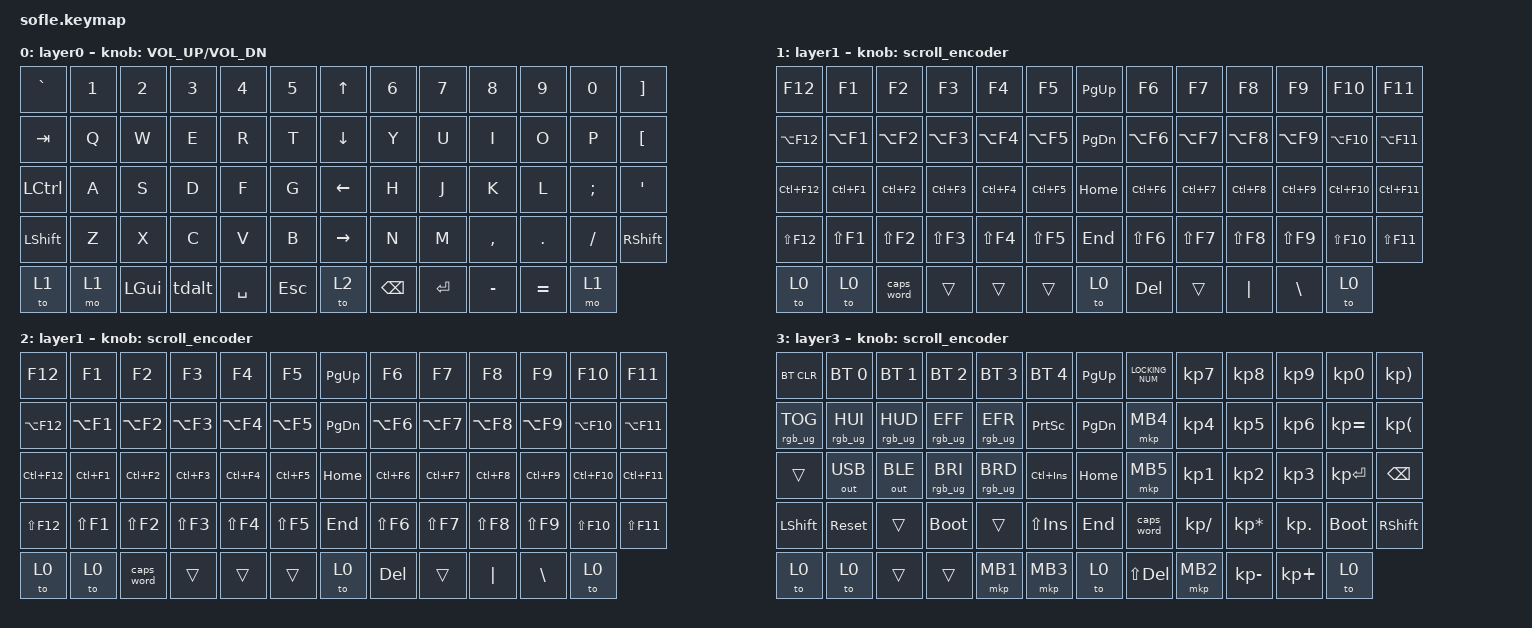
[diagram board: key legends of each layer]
#include <behaviors/mouse_keys.dtsi>
#include <dt-bindings/zmk/mouse.h>
#include <behaviors.dtsi>
#include <dt-bindings/zmk/bt.h>
#include <dt-bindings/zmk/keys.h>
#include <dt-bindings/zmk/outputs.h>

#include <dt-bindings/zmk/rgb.h>

#define ZMK_MOUSE_DEFAULT_MOVE_VAL 1200  // 600
#define ZMK_MOUSE_DEFAULT_SCRL_VAL 20    // 10
#define U_MS_U &mmv MOVE_UP
#define U_MS_D &mmv MOVE_DOWN
#define U_MS_L &mmv MOVE_LEFT
#define U_MS_R &mmv MOVE_RIGHT
#define ZMK_MOUSE_DEFAULT_MOVE_VAL 1200  //  600
#define ZMK_MOUSE_DEFAULT_SCRL_VAL 20    // 10

/ {
    behaviors {
        mmv {
            acceleration-exponent = <1>;      // 1
            time-to-max-speed-ms = <900>;    // 40
            delay-ms = <0>;                   // 0
        };

        msc {
            acceleration-exponent = <1>;      // 0
            time-to-max-speed-ms = <400>;      // 500
            delay-ms = <0>;                   //   10
        };
    };

    scroll_encoder: scroll_encoder {
        compatible = "zmk,behavior-sensor-rotate";
        #sensor-binding-cells = <0>;
        bindings = <&msc SCRL_DOWN>, <&msc SCRL_UP>;

        tap-ms = <30>;
    };

    tdalt: tdalt {
        compatible = "zmk,behavior-tap-dance";
        label = "TDALT";
        #binding-cells = <0>;
        bindings = <&kp LALT>, <&kp LALT>, <&kp RIGHT_ALT>;
    };

    keymap {
        compatible = "zmk,keymap";

        BASE {
            bindings = <
&kp GRAVE  &kp N1  &kp N2        &kp N3  &kp N4     &kp N5     &kp UP_ARROW     &kp N6         &kp N7     &kp N8     &kp N9     &kp N0    &kp RIGHT_BRACKET
&kp TAB    &kp Q   &kp W         &kp E   &kp R      &kp T      &kp DOWN_ARROW   &kp Y          &kp U      &kp I      &kp O      &kp P     &kp LEFT_BRACKET
&kp LCTRL  &kp A   &kp S         &kp D   &kp F      &kp G      &kp LEFT_ARROW   &kp H          &kp J      &kp K      &kp L      &kp SEMI  &kp APOS
&kp LSHFT  &kp Z   &kp X         &kp C   &kp V      &kp B      &kp RIGHT_ARROW  &kp N          &kp M      &kp COMMA  &kp DOT    &kp FSLH  &kp RIGHT_SHIFT
&to 1      &mo 1   &kp LEFT_GUI  &tdalt  &kp SPACE  &kp ESC    &to 2            &kp BACKSPACE  &kp ENTER  &kp MINUS  &kp EQUAL  &mo 1
            >;

            sensor-bindings = <&inc_dec_kp C_VOLUME_UP C_VOL_DN>;
            display-name = "layer0";
        };

        FLayer {
            bindings = <
&kp F12      &kp F1      &kp F2      &kp F3      &kp F4      &kp F5        &kp PAGE_UP    &kp F6      &kp F7      &kp F8      &kp F9         &kp F10      &kp F11
&kp LA(F12)  &kp LA(F1)  &kp LA(F2)  &kp LA(F3)  &kp LA(F4)  &kp LA(F5)    &kp PAGE_DOWN  &kp LA(F6)  &kp LA(F7)  &kp LA(F8)  &kp LA(F9)     &kp LA(F10)  &kp LA(F11)
&kp LC(F12)  &kp LC(F1)  &kp LC(F2)  &kp LC(F3)  &kp LC(F4)  &kp LC(F5)    &kp HOME       &kp LC(F6)  &kp LC(F7)  &kp LC(F8)  &kp LC(F9)     &kp LC(F10)  &kp LC(F11)
&kp LS(F12)  &kp LS(F1)  &kp LS(F2)  &kp LS(F3)  &kp LS(F4)  &kp LS(F5)    &kp END        &kp LS(F6)  &kp LS(F7)  &kp LS(F8)  &kp LS(F9)     &kp LS(F10)  &kp LS(F11)
&to 0        &to 0       &caps_word  &trans      &trans      &trans        &to 0          &kp DELETE  &trans      &kp PIPE    &kp BACKSLASH  &to 0
            >;

            display-name = "layer1";
            sensor-bindings = <&scroll_encoder>;
        };

        Symbol {
            display-name = "layer1";
            bindings = <
&kp F12      &kp F1      &kp F2      &kp F3      &kp F4      &kp F5        &kp PAGE_UP    &kp F6      &kp F7      &kp F8      &kp F9         &kp F10      &kp F11
&kp LA(F12)  &kp LA(F1)  &kp LA(F2)  &kp LA(F3)  &kp LA(F4)  &kp LA(F5)    &kp PAGE_DOWN  &kp LA(F6)  &kp LA(F7)  &kp LA(F8)  &kp LA(F9)     &kp LA(F10)  &kp LA(F11)
&kp LC(F12)  &kp LC(F1)  &kp LC(F2)  &kp LC(F3)  &kp LC(F4)  &kp LC(F5)    &kp HOME       &kp LC(F6)  &kp LC(F7)  &kp LC(F8)  &kp LC(F9)     &kp LC(F10)  &kp LC(F11)
&kp LS(F12)  &kp LS(F1)  &kp LS(F2)  &kp LS(F3)  &kp LS(F4)  &kp LS(F5)    &kp END        &kp LS(F6)  &kp LS(F7)  &kp LS(F8)  &kp LS(F9)     &kp LS(F10)  &kp LS(F11)
&to 0        &to 0       &caps_word  &trans      &trans      &trans        &to 0          &kp DELETE  &trans      &kp PIPE    &kp BACKSLASH  &to 0
            >;

            sensor-bindings = <&scroll_encoder>;
            label = "layer2";
        };

        Adjust {
            bindings = <
&bt BT_CLR       &bt BT_SEL 0     &bt BT_SEL 1     &bt BT_SEL 2     &bt BT_SEL 3     &bt BT_SEL 4       &kp PAGE_UP    &kp LOCKING_NUM  &kp KP_NUMBER_7  &kp KP_NUMBER_8  &kp KP_NUMBER_9  &kp KP_NUMBER_0  &kp KP_RIGHT_PARENTHESIS
&rgb_ug RGB_TOG  &rgb_ug RGB_HUI  &rgb_ug RGB_HUD  &rgb_ug RGB_EFF  &rgb_ug RGB_EFR  &kp PRINTSCREEN    &kp PAGE_DOWN  &mkp MB4         &kp KP_NUMBER_4  &kp KP_NUMBER_5  &kp KP_NUMBER_6  &kp KP_EQUAL     &kp KP_LEFT_PARENTHESIS
&trans           &out OUT_USB     &out OUT_BLE     &rgb_ug RGB_BRI  &rgb_ug RGB_BRD  &kp LC(INS)        &kp HOME       &mkp MB5         &kp KP_NUMBER_1  &kp KP_NUMBER_2  &kp KP_NUMBER_3  &kp KP_ENTER     &kp BACKSPACE
&kp LEFT_SHIFT   &sys_reset       &trans           &bootloader      &trans           &kp LS(INS)        &kp END        &caps_word       &kp KP_SLASH     &kp KP_MULTIPLY  &kp KP_DOT       &bootloader      &kp RSHIFT
&to 0            &to 0            &trans           &trans           &mkp MB1         &mkp MB3           &to 0          &kp LS(DEL)      &mkp MB2         &kp KP_MINUS     &kp KP_PLUS      &to 0
            >;

            sensor-bindings = <&scroll_encoder>;
            label = "layer3";
        };
    };

    conditional_layers {
        compatible = "zmk,conditional-layers";

        Adjust {
            if-layers = <1 3>;
            then-layer = <3>;
        };
    };
};
